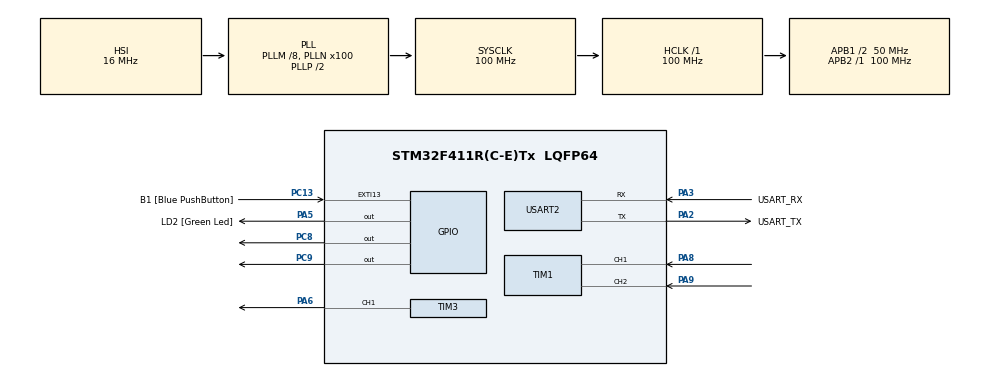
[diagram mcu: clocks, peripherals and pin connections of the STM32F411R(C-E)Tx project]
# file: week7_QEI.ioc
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Mcu.Family=STM32F4
Mcu.Name=STM32F411R(C-E)Tx
Mcu.Package=LQFP64
NVIC.PriorityGroup=NVIC_PRIORITYGROUP_0
PA13.GPIO_Label=TMS
PA13.Mode=Serial_Wire
PA13.Signal=SYS_JTMS-SWDIO
PA14.GPIO_Label=TCK
PA14.Mode=Serial_Wire
PA14.Signal=SYS_JTCK-SWCLK
PA2.GPIO_Label=USART_TX
PA2.Mode=Asynchronous
PA2.Signal=USART2_TX
PA3.GPIO_Label=USART_RX
PA3.Mode=Asynchronous
PA3.Signal=USART2_RX
PA5.GPIO_Label=LD2 [Green Led]
PA5.Signal=GPIO_Output
PA6.Signal=S_TIM3_CH1
PA8.Signal=S_TIM1_CH1
PA9.Signal=S_TIM1_CH2
PB3.GPIO_Label=SWO
PB3.Signal=SYS_JTDO-SWO
PC13-ANTI_TAMP.GPIO_Label=B1 [Blue PushButton]
PC13-ANTI_TAMP.GPIO_ModeDefaultEXTI=GPIO_MODE_IT_FALLING
PC13-ANTI_TAMP.Signal=GPXTI13
PC14-OSC32_IN.Mode=LSE-External-Oscillator
PC14-OSC32_IN.Signal=RCC_OSC32_IN
PC15-OSC32_OUT.Mode=LSE-External-Oscillator
PC15-OSC32_OUT.Signal=RCC_OSC32_OUT
PC8.Signal=GPIO_Output
PC9.Signal=GPIO_Output
PH0\ -\ OSC_IN.Mode=HSE-External-Clock-Source
PH0\ -\ OSC_IN.Signal=RCC_OSC_IN
PH1\ -\ OSC_OUT.Mode=HSE-External-Clock-Source
PH1\ -\ OSC_OUT.Signal=RCC_OSC_OUT
ProjectManager.HeapSize=0x200
ProjectManager.StackSize=0x400
ProjectManager.TargetToolchain=STM32CubeIDE
RCC.48MHZClocksFreq_Value=50000000
RCC.AHBFreq_Value=100000000
RCC.APB1CLKDivider=RCC_HCLK_DIV2
RCC.APB1Freq_Value=50000000
RCC.APB1TimFreq_Value=100000000
RCC.APB2Freq_Value=100000000
RCC.APB2TimFreq_Value=100000000
RCC.CortexFreq_Value=100000000
RCC.FLatency-AdvancedSettings=FLASH_LATENCY_3
RCC.HCLKFreq_Value=100000000
RCC.HSE_VALUE=8000000
RCC.HSI_VALUE=16000000
RCC.PLLM=8
RCC.PLLN=100
RCC.SYSCLKFreq_VALUE=100000000
RCC.SYSCLKSource=RCC_SYSCLKSOURCE_PLLCLK
RCC.VCOOutputFreq_Value=200000000
SH.S_TIM1_CH1.0=TIM1_CH1,Encoder_Interface
SH.S_TIM1_CH2.0=TIM1_CH2,Encoder_Interface
SH.S_TIM3_CH1.0=TIM3_CH1,PWM Generation1 CH1
TIM1.EncoderMode=TIM_ENCODERMODE_TI12
TIM1.IC1Filter=2
TIM1.IC2Filter=2
TIM1.Period=(12*64*4) - 1
TIM2.Prescaler=99
TIM3.Channel-PWM\ Generation1\ CH1=TIM_CHANNEL_1
TIM3.OCMode_PWM-PWM\ Generation1\ CH1=TIM_OCMODE_PWM1
TIM3.Period=10000
TIM3.Pulse-PWM\ Generation1\ CH1=0
USART2.VirtualMode=VM_ASYNC
VP_TIM2_VS_ClockSourceINT.Mode=Internal
VP_TIM3_VS_ClockSourceINT.Mode=Internal
board=NUCLEO-F411RE

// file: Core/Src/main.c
/* USER CODE BEGIN Header */
/**
  ******************************************************************************
  * @file           : main.c
  * @brief          : Main program body
  ******************************************************************************
  * @attention
  *
  * <h2><center>&copy; Copyright (c) 2021 STMicroelectronics.
  * All rights reserved.</center></h2>
  *
  * This software component is licensed by ST under BSD 3-Clause license,
  * the "License"; You may not use this file except in compliance with the
  * License. You may obtain a copy of the License at:
  *                        opensource.org/licenses/BSD-3-Clause
  *
  ******************************************************************************
  */
/* USER CODE END Header */
#include "main.h"

/* USER CODE BEGIN Includes */
#include "math.h"
/* USER CODE END Includes */

TIM_HandleTypeDef htim1;
TIM_HandleTypeDef htim2;
TIM_HandleTypeDef htim3;

UART_HandleTypeDef huart2;

/* USER CODE BEGIN PV */

uint64_t timestamp_encoder = 0,_micro = 0;
double Kp = 28000,Ki = 5,Kd = 10;
double encoder_vel = 0,target_vel = 10;
uint16_t output  = 0;
/* USER CODE END PV */

void SystemClock_Config(void);
static void MX_GPIO_Init(void);
static void MX_USART2_UART_Init(void);
static void MX_TIM1_Init(void);
static void MX_TIM2_Init(void);
static void MX_TIM3_Init(void);
/* USER CODE BEGIN PFP */

uint64_t  micros();
double encoder_velocity_update();
uint16_t PID_control();
double pps_to_rpm();
void motor_direction();
/* USER CODE END PFP */

int main(void)
{

  /* MCU Configuration--------------------------------------------------------*/

  /* Reset of all peripherals, Initializes the Flash interface and the Systick. */
  HAL_Init();

  /* Configure the system clock */
  SystemClock_Config();

  /* Initialize all configured peripherals */
  MX_GPIO_Init();
  MX_USART2_UART_Init();
  MX_TIM1_Init();
  MX_TIM2_Init();
  MX_TIM3_Init();
  /* USER CODE BEGIN 2 */

  //start timer micro sec
  HAL_TIM_Base_Start(&htim2);

  //start encoder timer
  HAL_TIM_Encoder_Start(&htim1, TIM_CHANNEL_ALL);

  //start pwm
  HAL_TIM_Base_Start(&htim3);
  HAL_TIM_PWM_Start(&htim3, TIM_CHANNEL_1);

  /* USER CODE END 2 */

  /* Infinite loop */
  /* USER CODE BEGIN WHILE */
  while (1)
  {
	  /*if(micros() - timestamp_encoder > 10000){    //uS
		  timestamp_encoder = micros();
		  encoder_vel = encoder_velocity_update();
	  }*/

	  if(micros() - timestamp_encoder > 1000){ //uS
		  timestamp_encoder = micros();
		  encoder_vel = (encoder_vel*99 + pps_to_rpm(encoder_velocity_update()))/100.0; //low pass filter
		  //encoder_vel = encoder_velocity_update();

		  motor_direction(target_vel);
		  output = PID_control(fabs(target_vel), fabs(encoder_vel), 1000*1e-6);
		  __HAL_TIM_SET_COMPARE(&htim3,TIM_CHANNEL_1,output);
		  //__HAL_TIM_SET_COMPARE(&htim3,TIM_CHANNEL_1,10000);
		  //__HAL_TIM_SET_COMPARE(&htim1,TIM_CHANNEL_1,PWMoutput);
	  }

    /* USER CODE END WHILE */

  }
}

void SystemClock_Config(void)
{
  RCC_OscInitTypeDef RCC_OscInitStruct = {0};
  RCC_ClkInitTypeDef RCC_ClkInitStruct = {0};

  /** Configure the main internal regulator output voltage
  */
  __HAL_RCC_PWR_CLK_ENABLE();
  __HAL_PWR_VOLTAGESCALING_CONFIG(PWR_REGULATOR_VOLTAGE_SCALE1);
  /** Initializes the RCC Oscillators according to the specified parameters
  * in the RCC_OscInitTypeDef structure.
  */
  RCC_OscInitStruct.OscillatorType = RCC_OSCILLATORTYPE_HSI;
  RCC_OscInitStruct.HSIState = RCC_HSI_ON;
  RCC_OscInitStruct.HSICalibrationValue = RCC_HSICALIBRATION_DEFAULT;
  RCC_OscInitStruct.PLL.PLLState = RCC_PLL_ON;
  RCC_OscInitStruct.PLL.PLLSource = RCC_PLLSOURCE_HSI;
  RCC_OscInitStruct.PLL.PLLM = 8;
  RCC_OscInitStruct.PLL.PLLN = 100;
  RCC_OscInitStruct.PLL.PLLP = RCC_PLLP_DIV2;
  RCC_OscInitStruct.PLL.PLLQ = 4;
  if (HAL_RCC_OscConfig(&RCC_OscInitStruct) != HAL_OK)
  {
    Error_Handler();
  }
  /** Initializes the CPU, AHB and APB buses clocks
  */
  RCC_ClkInitStruct.ClockType = RCC_CLOCKTYPE_HCLK|RCC_CLOCKTYPE_SYSCLK
                              |RCC_CLOCKTYPE_PCLK1|RCC_CLOCKTYPE_PCLK2;
  RCC_ClkInitStruct.SYSCLKSource = RCC_SYSCLKSOURCE_PLLCLK;
  RCC_ClkInitStruct.AHBCLKDivider = RCC_SYSCLK_DIV1;
  RCC_ClkInitStruct.APB1CLKDivider = RCC_HCLK_DIV2;
  RCC_ClkInitStruct.APB2CLKDivider = RCC_HCLK_DIV1;

  if (HAL_RCC_ClockConfig(&RCC_ClkInitStruct, FLASH_LATENCY_3) != HAL_OK)
  {
    Error_Handler();
  }
}

static void MX_TIM1_Init(void)
{

  TIM_Encoder_InitTypeDef sConfig = {0};
  TIM_MasterConfigTypeDef sMasterConfig = {0};

  htim1.Instance = TIM1;
  htim1.Init.Prescaler = 0;
  htim1.Init.CounterMode = TIM_COUNTERMODE_UP;
  htim1.Init.Period = (12*64*4) - 1;
  htim1.Init.ClockDivision = TIM_CLOCKDIVISION_DIV1;
  htim1.Init.RepetitionCounter = 0;
  htim1.Init.AutoReloadPreload = TIM_AUTORELOAD_PRELOAD_DISABLE;
  sConfig.EncoderMode = TIM_ENCODERMODE_TI12;
  sConfig.IC1Polarity = TIM_ICPOLARITY_RISING;
  sConfig.IC1Selection = TIM_ICSELECTION_DIRECTTI;
  sConfig.IC1Prescaler = TIM_ICPSC_DIV1;
  sConfig.IC1Filter = 2;
  sConfig.IC2Polarity = TIM_ICPOLARITY_RISING;
  sConfig.IC2Selection = TIM_ICSELECTION_DIRECTTI;
  sConfig.IC2Prescaler = TIM_ICPSC_DIV1;
  sConfig.IC2Filter = 2;
  if (HAL_TIM_Encoder_Init(&htim1, &sConfig) != HAL_OK)
  {
    Error_Handler();
  }
  sMasterConfig.MasterOutputTrigger = TIM_TRGO_RESET;
  sMasterConfig.MasterSlaveMode = TIM_MASTERSLAVEMODE_DISABLE;
  if (HAL_TIMEx_MasterConfigSynchronization(&htim1, &sMasterConfig) != HAL_OK)
  {
    Error_Handler();
  }

}

static void MX_TIM2_Init(void)
{

  TIM_ClockConfigTypeDef sClockSourceConfig = {0};
  TIM_MasterConfigTypeDef sMasterConfig = {0};

  htim2.Instance = TIM2;
  htim2.Init.Prescaler = 99;
  htim2.Init.CounterMode = TIM_COUNTERMODE_UP;
  htim2.Init.Period = 4294967295;
  htim2.Init.ClockDivision = TIM_CLOCKDIVISION_DIV1;
  htim2.Init.AutoReloadPreload = TIM_AUTORELOAD_PRELOAD_DISABLE;
  if (HAL_TIM_Base_Init(&htim2) != HAL_OK)
  {
    Error_Handler();
  }
  sClockSourceConfig.ClockSource = TIM_CLOCKSOURCE_INTERNAL;
  if (HAL_TIM_ConfigClockSource(&htim2, &sClockSourceConfig) != HAL_OK)
  {
    Error_Handler();
  }
  sMasterConfig.MasterOutputTrigger = TIM_TRGO_RESET;
  sMasterConfig.MasterSlaveMode = TIM_MASTERSLAVEMODE_DISABLE;
  if (HAL_TIMEx_MasterConfigSynchronization(&htim2, &sMasterConfig) != HAL_OK)
  {
    Error_Handler();
  }

}

static void MX_TIM3_Init(void)
{

  TIM_ClockConfigTypeDef sClockSourceConfig = {0};
  TIM_MasterConfigTypeDef sMasterConfig = {0};
  TIM_OC_InitTypeDef sConfigOC = {0};

  htim3.Instance = TIM3;
  htim3.Init.Prescaler = 0;
  htim3.Init.CounterMode = TIM_COUNTERMODE_UP;
  htim3.Init.Period = 10000;
  htim3.Init.ClockDivision = TIM_CLOCKDIVISION_DIV1;
  htim3.Init.AutoReloadPreload = TIM_AUTORELOAD_PRELOAD_DISABLE;
  if (HAL_TIM_Base_Init(&htim3) != HAL_OK)
  {
    Error_Handler();
  }
  sClockSourceConfig.ClockSource = TIM_CLOCKSOURCE_INTERNAL;
  if (HAL_TIM_ConfigClockSource(&htim3, &sClockSourceConfig) != HAL_OK)
  {
    Error_Handler();
  }
  if (HAL_TIM_PWM_Init(&htim3) != HAL_OK)
  {
    Error_Handler();
  }
  sMasterConfig.MasterOutputTrigger = TIM_TRGO_RESET;
  sMasterConfig.MasterSlaveMode = TIM_MASTERSLAVEMODE_DISABLE;
  if (HAL_TIMEx_MasterConfigSynchronization(&htim3, &sMasterConfig) != HAL_OK)
  {
    Error_Handler();
  }
  sConfigOC.OCMode = TIM_OCMODE_PWM1;
  sConfigOC.Pulse = 0;
  sConfigOC.OCPolarity = TIM_OCPOLARITY_HIGH;
  sConfigOC.OCFastMode = TIM_OCFAST_DISABLE;
  if (HAL_TIM_PWM_ConfigChannel(&htim3, &sConfigOC, TIM_CHANNEL_1) != HAL_OK)
  {
    Error_Handler();
  }
  HAL_TIM_MspPostInit(&htim3);

}

static void MX_USART2_UART_Init(void)
{

  huart2.Instance = USART2;
  huart2.Init.BaudRate = 115200;
  huart2.Init.WordLength = UART_WORDLENGTH_8B;
  huart2.Init.StopBits = UART_STOPBITS_1;
  huart2.Init.Parity = UART_PARITY_NONE;
  huart2.Init.Mode = UART_MODE_TX_RX;
  huart2.Init.HwFlowCtl = UART_HWCONTROL_NONE;
  huart2.Init.OverSampling = UART_OVERSAMPLING_16;
  if (HAL_UART_Init(&huart2) != HAL_OK)
  {
    Error_Handler();
  }

}

static void MX_GPIO_Init(void)
{
  GPIO_InitTypeDef GPIO_InitStruct = {0};

  /* GPIO Ports Clock Enable */
  __HAL_RCC_GPIOC_CLK_ENABLE();
  __HAL_RCC_GPIOH_CLK_ENABLE();
  __HAL_RCC_GPIOA_CLK_ENABLE();
  __HAL_RCC_GPIOB_CLK_ENABLE();

  /*Configure GPIO pin Output Level */
  HAL_GPIO_WritePin(LD2_GPIO_Port, LD2_Pin, GPIO_PIN_RESET);

  /*Configure GPIO pin Output Level */
  HAL_GPIO_WritePin(GPIOC, GPIO_PIN_8|GPIO_PIN_9, GPIO_PIN_RESET);

  /*Configure GPIO pin : B1_Pin */
  GPIO_InitStruct.Pin = B1_Pin;
  GPIO_InitStruct.Mode = GPIO_MODE_IT_FALLING;
  GPIO_InitStruct.Pull = GPIO_NOPULL;
  HAL_GPIO_Init(B1_GPIO_Port, &GPIO_InitStruct);

  /*Configure GPIO pin : LD2_Pin */
  GPIO_InitStruct.Pin = LD2_Pin;
  GPIO_InitStruct.Mode = GPIO_MODE_OUTPUT_PP;
  GPIO_InitStruct.Pull = GPIO_NOPULL;
  GPIO_InitStruct.Speed = GPIO_SPEED_FREQ_LOW;
  HAL_GPIO_Init(LD2_GPIO_Port, &GPIO_InitStruct);

  /*Configure GPIO pins : PC8 PC9 */
  GPIO_InitStruct.Pin = GPIO_PIN_8|GPIO_PIN_9;
  GPIO_InitStruct.Mode = GPIO_MODE_OUTPUT_PP;
  GPIO_InitStruct.Pull = GPIO_NOPULL;
  GPIO_InitStruct.Speed = GPIO_SPEED_FREQ_LOW;
  HAL_GPIO_Init(GPIOC, &GPIO_InitStruct);

}

/* USER CODE BEGIN 4 */

#define max_encoder_period (12*64*4)-1
#define max_subposition_overflow 1536

double encoder_velocity_update(){

	//save last state
	static uint32_t encoder_last_position = 0;
	static uint64_t encoder_last_timestamp = 0;

	//read data
	uint32_t encoder_now_position = TIM1->CNT;
	uint64_t encoder_now_timestamp = micros();

	int32_t encoder_position_diff;
	uint64_t encoder_time_diff;

	encoder_time_diff = encoder_now_timestamp - encoder_last_timestamp;
	encoder_position_diff = encoder_now_position - encoder_last_position;

	// check over flow (compensate overflow and underflow)

	if(encoder_position_diff >= max_subposition_overflow){
		encoder_position_diff -= max_encoder_period;
	}
	else if(-encoder_position_diff >= max_subposition_overflow){
		encoder_position_diff += max_encoder_period;
	}

	encoder_last_position = encoder_now_position;
	encoder_last_timestamp = encoder_now_timestamp;

	return (double)encoder_position_diff*1e6/(double)encoder_time_diff;
}

//double previous_error = 0,integral = 0;
double pu1=0,pe1=0,pe2=0;
uint16_t PID_control(double setpoint ,double measure_value,double dt){
	/*double error =  setpoint - measure_value;
	integral += error*dt;
	double derivative = (error - previous_error)/dt;
	double output = Kp* error + Ki * integral + Kd * derivative;
	previous_error = error;
	return output;*/

	double error = setpoint - measure_value;
	double output = pu1+(Kp+Ki+Kd)*error-(Kp+2*Kd)*pe1+(Kd*pe2);
	pu1 = output;
	pe2 = pe1;
	pe1 = error;
	return output;

}

double pps_to_rpm(double input){
	return input/12/64/4*60;
}

void HAL_TIM_PeriodElapsedCallback(TIM_HandleTypeDef *htim){

	if(htim == &htim2){
		_micro += ((uint64_t)1<<32)-1;
	}

}

void motor_direction(double target_velocity){
	if(target_velocity > 0){
		HAL_GPIO_WritePin(GPIOC, GPIO_PIN_8, 0);
		HAL_GPIO_WritePin(GPIOC, GPIO_PIN_9, 1);
	}
	else if(target_velocity < 0){
		HAL_GPIO_WritePin(GPIOC, GPIO_PIN_8, 1);
		HAL_GPIO_WritePin(GPIOC, GPIO_PIN_9, 0);
	}
	else{
		HAL_GPIO_WritePin(GPIOC, GPIO_PIN_8, 1);
		HAL_GPIO_WritePin(GPIOC, GPIO_PIN_9, 1);
	}
}

uint64_t micros(){
	return _micro + htim2.Instance->CNT;
}

/* USER CODE END 4 */

void Error_Handler(void)
{
  __disable_irq();
  while (1)
  {
  }
}

/************************ (C) COPYRIGHT STMicroelectronics *****END OF FILE****/
